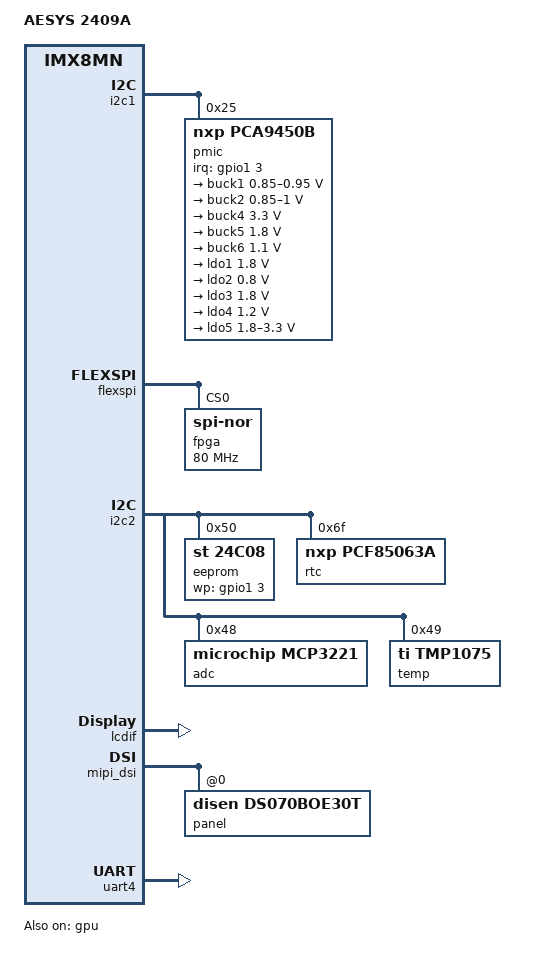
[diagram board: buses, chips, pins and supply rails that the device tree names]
// SPDX-License-Identifier: (GPL-2.0+ OR MIT)
/*
 * Copyright 2019 NXP
 */

/dts-v1/;

#include "imx8mn.dtsi"
#include "imx8mn-evk.dtsi"
#include <dt-bindings/interrupt-controller/irq.h>

/ {
	model = "AESYS 2409A";
	compatible = "fsl,imx8mn-evk", "fsl,imx8mn";


	/*****************************************************
	* AESYS CUSTOMIZATION
	*****************************************************/
	
	gpio-leds {
		/delete-node/ status;

		heartbeat {
			label = "heartbeat";
			linux,default-trigger = "heartbeat";
			gpios = <&gpio1 23 GPIO_ACTIVE_HIGH>;
		};
	};

	ir-receiver {
		status = "disabled";
	};

	sound-bt-sco {
		status = "disabled";
	}

	sound-wm8524 {
		status = "disabled";
	}

	sound-micfil {
		status = "disabled";
	}

	sound-spdif {
		status = "disabled";
	}

	sound-ak5558 {
		status = "disabled";
	}
};

&A53_0 {
	cpu-supply = <&buck2>;
};

&A53_1 {
	cpu-supply = <&buck2>;
};

&A53_2 {
	cpu-supply = <&buck2>;
};

&A53_3 {
	cpu-supply = <&buck2>;
};

&i2c1 {
	pmic: pmic@25 {
		compatible = "nxp,pca9450b";
		reg = <0x25>;
		pinctrl-names = "default";
		pinctrl-0 = <&pinctrl_pmic>;
		interrupt-parent = <&gpio1>;
		interrupts = <3 IRQ_TYPE_LEVEL_LOW>;

		regulators {
			buck1: BUCK1 {
				regulator-name = "VDD_SOC";
				regulator-min-microvolt = <850000>;
				regulator-max-microvolt = <950000>;
				regulator-boot-on;
				regulator-always-on;
				regulator-ramp-delay = <3125>;
				nxp,dvs-run-voltage = <950000>;
				nxp,dvs-standby-voltage = <750000>;
			};

			buck2: BUCK2 {
				regulator-name = "VDD_ARM_0V9";
				regulator-min-microvolt = <850000>;
				regulator-max-microvolt = <1000000>;
				regulator-boot-on;
				regulator-always-on;
				regulator-ramp-delay = <3125>;
			};

			buck4: BUCK4 {
				regulator-name = "VDD_3V3";
				regulator-min-microvolt = <3300000>;
				regulator-max-microvolt = <3300000>;
				regulator-boot-on;
				regulator-always-on;
			};

			buck5: BUCK5 {
				regulator-name = "VDD_1V8";
				regulator-min-microvolt = <1800000>;
				regulator-max-microvolt = <1800000>;
				regulator-boot-on;
				regulator-always-on;
			};

			buck6: BUCK6 {
				regulator-name = "NVCC_DRAM_1V1";
				regulator-min-microvolt = <1100000>;
				regulator-max-microvolt = <1100000>;
				regulator-boot-on;
				regulator-always-on;
			};

			ldo1: LDO1 {
				regulator-name = "NVCC_SNVS_1V8";
				regulator-min-microvolt = <1800000>;
				regulator-max-microvolt = <1800000>;
				regulator-boot-on;
				regulator-always-on;
			};

			ldo2: LDO2 {
				regulator-name = "VDD_SNVS_0V8";
				regulator-min-microvolt = <800000>;
				regulator-max-microvolt = <800000>;
				regulator-boot-on;
				regulator-always-on;
			};

			ldo3: LDO3 {
				regulator-name = "VDDA_1V8";
				regulator-min-microvolt = <1800000>;
				regulator-max-microvolt = <1800000>;
				regulator-boot-on;
				regulator-always-on;
			};

			ldo4: LDO4 {
				regulator-name = "VDD_PHY_1V2";
				regulator-min-microvolt = <1200000>;
				regulator-max-microvolt = <1200000>;
				regulator-boot-on;
				regulator-always-on;
			};

			ldo5: LDO5 {
				regulator-name = "NVCC_SD2";
				regulator-min-microvolt = <1800000>;
				regulator-max-microvolt = <3300000>;
				regulator-boot-on;
				regulator-always-on;
			};
		};
	};
};

&gpu {
	status = "okay";
};


/*****************************************************
 * AESYS CUSTOMIZATION
 *****************************************************/


&ir_recv {
	status = "disabled";
};

&reg_usdhc1_vmmc {
	status = "disabled";
};

&reg_audio_board {
	status = "disabled";
};

&audio_codec_bt_sco {
	status = "disabled";
};

&wm8524 {
	status = "disabled";
};

&cameradev {
	status = "disabled";
};

&easrc {
	status = "disabled";
};

&ethphy0 {
	reset-gpios = <&gpio1 10 GPIO_ACTIVE_LOW>;

	/delete-prop/ realtek,aldps-enable;
	/delete-prop/ realtek,clkout-disable;
	/delete-prop/ qca,disable-smarteee;
};

&flexspi {
	/delete-node/ flash@0;

	fpga: fpga@0 {
		reg = <0>;
		compatible = "jedec,spi-nor";
		spi-max-frequency = <80000000>;
		spi-tx-bus-width = <4>;
		spi-rx-bus-width = <4>;
		#address-cells = <1>;
		#size-cells = <1>;
	};
};

/* ***** I2C2 ***** */

&adv_bridge {
	status = "disabled";
};

&ptn5110 {
	status = "disabled";
};

&i2c2 {
	eeprom@50 {
		compatible = "st,24c08";
		pinctrl-names = "default";
		pinctrl-0 = <&pinctrl_eeprom>;
		reg = <0x50>;
		pagesize = <16>;
		wp-gpios = <&gpio1 3 16>;
		num-addresses = <1>;
	};

	rtc@6f {
		compatible = "nxp,pcf85063a";
		reg = <0x6f>;

		clock {
			compatible = "fixed-clock";
			#clock-cells = <0>;
			clock-frequency = <32768>;
		};
	};

	adc@48 {
		compatible = "microchip,mcp3221";
		reg = <0x48>;
	};

	temp@49 {
		compatible = "ti,tmp1075";
		reg = <0x49>;
	};
};

/* ***** I2C3 ***** */

&pca6416 {
	status = "disabled";
};

&ak4458_1 {
	status = "disabled";
};

&ak4458_2 {
	status = "disabled";
};

&ak5558 {
	status = "disabled";
};

&ak4497 {
	status = "disabled";
};

&ov5640_mipi_0 {
	status = "disabled";
};

&isi_0 {
	status = "disabled";
};

&lcdif {
	status = "okay";
};

&mipi_dsi {
	status = "okay";

	/delete-node/ port@1;

	panel@0 {
		compatible = "disen,ds070boe30t";
		reg = <0>;
		status = "okay";
	};
};

&micfil {
	status = "disabled";
};

&mipi_csi_1 {
	status = "disabled";
};

&sai2 {
	status = "disabled";
};

&sai3 {
	status = "disabled";
};

&sai5 {
	status = "disabled";
};

&snvs_pwrkey {
	status = "disabled";
};

&spdif1 {
	status = "disabled";
};

&uart1 {
	/delete-node/ bluetooth;
};

&uart3 {
	/delete-prop/ uart-has-rtscts;
};

&uart4 {
	pinctrl-names = "default";
	pinctrl-0 = <&pinctrl_uart4>;
	uart-has-rtscts;
	status = "okay";
};

&usbotg1 {
	/delete-prop/ disable-over-current;
	/delete-node/ port;

	pinctrl-names = "default";
	pinctrl-0 = <&pinctrl_usbotg>;
	role-switch-default-mode = "peripheral";
	over-current-active-low;
};

&usdhc1 {
	status = "disabled";
}

&usdhc2 {
	/delete-prop/ cd-gpios;
};





/* ***** PINCTRL ***** */

&pinctrl_gpio_led {
	fsl,pins = <
		MX8MN_IOMUXC_ENET_TXC_GPIO1_IO23	0x16
	>;
};

&pinctrl_fec1 {
	fsl,pins = <
		MX8MN_IOMUXC_ENET_MDC_ENET1_MDC		0x3
		MX8MN_IOMUXC_ENET_MDIO_ENET1_MDIO	0x3
		MX8MN_IOMUXC_ENET_TD1_ENET1_RGMII_TD1	0x1f
		MX8MN_IOMUXC_ENET_TD0_ENET1_RGMII_TD0	0x1f
		MX8MN_IOMUXC_ENET_RD1_ENET1_RGMII_RD1	0x91
		MX8MN_IOMUXC_ENET_RD0_ENET1_RGMII_RD0	0x91
		MX8MN_IOMUXC_ENET_RX_CTL_ENET1_RGMII_RX_CTL	0x91
		MX8MN_IOMUXC_ENET_TX_CTL_ENET1_RGMII_TX_CTL	0x1f
		MX8MN_IOMUXC_ENET_RXC_ENET1_RX_ER	0x91
		MX8MN_IOMUXC_ENET_TD2_ENET1_TX_CLK	0x1f
		MX8MN_IOMUXC_GPIO1_IO10_GPIO1_IO10	0x19

		// PIN for interrupt (not used at the moment)
		MX8MN_IOMUXC_GPIO1_IO10_GPIO1_IO09	0x16
	>;
};

&pinctrl_flexspi {
	fsl,pins = <
		MX8MN_IOMUXC_NAND_ALE_QSPI_A_SCLK		0xc4
		MX8MN_IOMUXC_NAND_CE0_B_QSPI_A_SS0_B	0x84
		MX8MN_IOMUXC_NAND_DATA00_QSPI_A_DATA0	0x84
		MX8MN_IOMUXC_NAND_DATA01_QSPI_A_DATA1	0x84
		MX8MN_IOMUXC_NAND_DATA02_QSPI_A_DATA2	0x84
		MX8MN_IOMUXC_NAND_DATA03_QSPI_A_DATA3	0x84
	>;
};

&pinctrl_uart1 {
	fsl,pins = <
		MX8MN_IOMUXC_SAI2_RXC_UART1_DCE_RX		0x140
		MX8MN_IOMUXC_SAI2_RXFS_UART1_DCE_TX		0x140
		MX8MN_IOMUXC_SAI2_RXD0_UART1_DTE_CTS_B	0x140
		MX8MN_IOMUXC_SAI2_TXFS_UART1_DTE_RTS_B	0x140
	>;
};

&pinctrl_uart2 {
	fsl,pins = <
		MX8MN_IOMUXC_SAI3_TXC_UART2_DTE_RX		0x140
		MX8MN_IOMUXC_SAI3_TXFS_UART2_DTE_TX		0x140
	>;
};

&pinctrl_uart3 {
	fsl,pins = <
		MX8MN_IOMUXC_UART3_RXD_UART3_DCE_RX		0x140
		MX8MN_IOMUXC_UART3_TXD_UART3_DCE_TX		0x140
	>;
};

&pinctrl_usdhc2_gpio {
	fsl,pins = <
		MX8MN_IOMUXC_SD2_CD_B_USDHC2_CD_B		0x1c4
	>;
};


&iomuxc {
	pinctrl-names = "default";
	pinctrl-0 = <&pinctrl_usdhc3_reset &pinctrl_pin_gpios>;

	pinctrl_eeprom: eepromgrp {
		fsl,pins = <
			MX8MN_IOMUXC_NAND_READY_B_GPIO3_IO16	0x16
		>;
	};

	pinctrl_uart4: uart4grp {
		fsl,pins = <
			MX8MN_IOMUXC_UART4_RXD_UART4_DCE_RX			0x140
			MX8MN_IOMUXC_UART4_TXD_UART4_DCE_TX			0x140
			MX8MN_IOMUXC_ECSPI2_MISO_UART4_DCE_CTS_B 	0x140
			MX8MN_IOMUXC_ECSPI2_SS0_UART4_DCE_RTS_B 	0x140
		>;
	};

	pinctrl_usbotg: usbotggrp {
		fsl,pins = <
			MX8MN_IOMUXC_GPIO1_IO13_USB1_OTG_OC			0x84
			MX8MN_IOMUXC_GPIO1_IO12_USB1_OTG_PWR		0x84
		>;
	};

	pinctrl_usdhc3_reset: usdhc3resetgrp {
		fsl,pins = <
			MX8MN_IOMUXC_GPIO1_IO11_GPIO1_IO11			0x16
		>;
	};

	pinctrl_pin_gpios: pin_gpios {
		fsl,pins = <
			MX8MN_IOMUXC_ENET_RD2_GPIO1_IO28           0x00000016	/* TEMP_SENS_nINT */
			MX8MN_IOMUXC_ENET_RD3_GPIO1_IO29           0x00000016	/* FPGA_RESET */
			MX8MN_IOMUXC_ENET_TD3_GPIO1_IO18           0x00000016	/* RTC_nINT */
			MX8MN_IOMUXC_GPIO1_IO00_GPIO1_IO0          0x00000016	/* FPGA_I2C_nINT */
			MX8MN_IOMUXC_GPIO1_IO01_GPIO1_IO1          0x00000016	/* WDOG_EN */
			MX8MN_IOMUXC_GPIO1_IO05_M7_NMI             0x00000156	/* M7 NMI */
			MX8MN_IOMUXC_GPIO1_IO06_GPIO1_IO6          0x00000016	/* WDOG_WDI */
			MX8MN_IOMUXC_GPIO1_IO07_GPIO1_IO7          0x00000016	/* WDOG_SET0 */
			MX8MN_IOMUXC_GPIO1_IO08_GPIO1_IO8          0x00000016	/* WDOG_SET1 */
			MX8MN_IOMUXC_GPIO1_IO09_GPIO1_IO9          0x00000016	/* ETH_nINT */
		>;
	};
};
